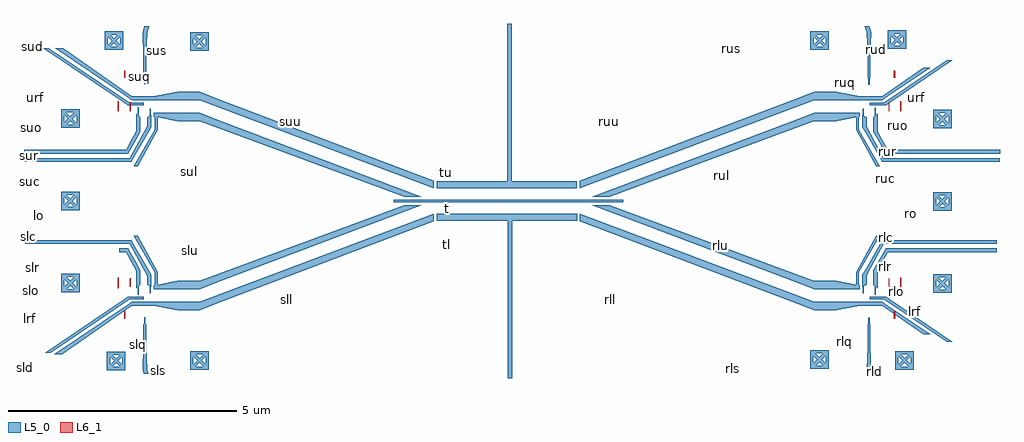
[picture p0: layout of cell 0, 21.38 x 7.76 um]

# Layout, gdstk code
import gdstk
lib = gdstk.Library(unit=1e-6, precision=1e-09)
def R(c, l, rs):  # rectangles x0, y0, x1, y1
    for r in rs: c.add(gdstk.rectangle(r[:2], r[2:], *l))
def A(c, l, x, y, w, h, nx, ny, dx, dy):  # array of equal rectangles
    R(c, l, [(x+i*dx, y+j*dy, x+i*dx+w, y+j*dy+h) for i in range(nx) for j in range(ny)])
def P(c, l, *ps):  # polygons
    for p in ps: c.add(gdstk.Polygon(p, *l))
L5_0 = (5, 0)
L6_1 = (6, 1)

c_0 = lib.new_cell('0')
A(c_0, L5_0, 9.278, -2, 0.404, 0.068, 1, 3, 0, 1.8)
A(c_0, L5_0, 9.616, -2, 0.068, 0.404, 1, 3, 0, 1.8)
A(c_0, L5_0, 9.278, -1.998, 0.068, 0.404, 1, 3, 0, 1.8)
A(c_0, L5_0, -9.824, -1.99, 0.404, 0.068, 1, 3, 0, 1.8)
A(c_0, L5_0, -9.486, -1.99, 0.068, 0.404, 1, 3, 0, 1.8)
A(c_0, L5_0, -9.824, -1.988, 0.068, 0.404, 1, 3, 0, 1.8)
A(c_0, L5_0, 9.28, -1.662, 0.404, 0.068, 1, 3, 0, 1.8)
A(c_0, L5_0, -9.822, -1.652, 0.404, 0.068, 1, 3, 0, 1.8)
R(c_0, L5_0, [(-0.043,-3.869,0.054,-0.426), (-8.82,-3.694,-8.416,-3.626), (-8.482,-3.694,-8.414,-3.29), (-8.82,-3.692,-8.752,-3.288), (-6.995,-3.685,-6.591,-3.617), (-6.657,-3.685,-6.589,-3.281), (8.449,-3.685,8.853,-3.617), (8.787,-3.685,8.855,-3.281), (-6.995,-3.683,-6.927,-3.279), (8.449,-3.683,8.517,-3.279), (6.584,-3.666,6.988,-3.598), (6.922,-3.666,6.99,-3.262), (6.584,-3.664,6.652,-3.26), (-8.818,-3.356,-8.414,-3.288), (-6.993,-3.347,-6.589,-3.279), (8.451,-3.347,8.855,-3.279), (6.586,-3.328,6.99,-3.26), (-8.02,-3.198,-7.96,-2.686), (7.842,-3.198,7.902,-2.686), (7.858,-2.708,7.889,-2.547), (-8.004,-2.684,-7.98,-2.542), (8.001,-2.042,8.021,-1.814), (-8.139,-2.04,-8.119,-1.81), (7.742,-2.012,7.76,-1.842), (-7.878,-2.01,-7.858,-1.816), (-7.789,-1.921,-7.709,-1.841), (7.591,-1.921,7.671,-1.841), (-7.769,-1.836,-7.709,-1.555), (7.591,-1.836,7.651,-1.555), (-8.552,-1.111,-8.401,-1.031), (-10.604,-0.931,-8.317,-0.851), (8.199,-0.931,10.674,-0.851), (-1.6,-0.426,1.481,-0.266), (-2.536,-0.021,2.487,0.039), (-1.6,0.284,1.475,0.444), (-0.049,0.444,0.048,3.887), (-10.617,0.869,-8.317,0.949), (8.199,0.869,10.742,0.949), (-10.636,1.049,-8.401,1.129), (-7.769,1.573,-7.709,1.854), (7.591,1.573,7.651,1.854), (-8.14,1.828,-8.118,2.06), (-7.88,1.829,-7.857,2.029), (7.998,1.84,8.021,2.057), (7.74,1.85,7.763,2.031), (-7.789,1.859,-7.709,1.939), (7.591,1.859,7.671,1.939), (7.855,2.56,7.888,2.736), (-8.004,2.564,-7.973,2.708), (-8.02,2.704,-7.96,3.216), (7.842,2.704,7.902,3.216), (-6.998,3.302,-6.594,3.37), (-6.66,3.302,-6.592,3.706), (-6.998,3.304,-6.93,3.708), (-8.867,3.318,-8.463,3.386), (-8.529,3.318,-8.461,3.722), (6.59,3.318,6.994,3.386), (6.928,3.318,6.996,3.722), (-8.867,3.32,-8.799,3.724), (6.59,3.32,6.658,3.724), (8.286,3.34,8.69,3.408), (8.624,3.34,8.692,3.744), (8.286,3.342,8.354,3.746), (-6.996,3.64,-6.592,3.708), (-8.865,3.656,-8.461,3.724), (6.592,3.656,6.996,3.724), (8.288,3.678,8.692,3.746)])
P(c_0, L5_0, [(-9.737,-0.153),(-9.785,-0.104),(-9.499,0.181),(-9.451,0.133)],
  [(-9.502,-0.154),(-9.788,0.131),(-9.74,0.18),(-9.454,-0.106)],
  [(9.365,-0.163),(9.317,-0.114),(9.603,0.171),(9.651,0.123)],
  [(9.6,-0.164),(9.314,0.121),(9.362,0.17),(9.648,-0.116)],
  [(8.062,1.367),(7.972,1.531),(7.972,1.846),(8.062,1.916)],
  [(7.892,2.109),(7.892,2.159),(8.323,2.159),(8.249,2.109)],
  [(8.198,2.159),(9.572,3.087),(9.697,3.087),(8.323,2.159)],
  [(7.842,3.216),(7.822,3.704),(7.922,3.704),(7.902,3.216)],
  [(1.542,0.284),(1.542,0.455),(6.196,2.219),(6.671,2.219)],
  [(7.671,2.219),(7.671,2.299),(8.28,2.299),(8.161,2.219)],
  [(7.161,1.759),(7.161,1.939),(7.591,1.939),(7.591,1.843)],
  [(7.822,3.704),(7.776,3.833),(7.881,3.833),(7.922,3.704)],
  [(8.03,0.769),(7.591,1.573),(7.651,1.573),(8.11,0.769)],
  [(7.591,1.854),(7.591,1.859),(7.671,1.859),(7.645,1.854)],
  [(1.812,0.099),(6.196,1.759),(6.667,1.759),(2.192,0.099)],
  [(6.196,1.759),(6.671,1.939),(7.161,1.939),(7.161,1.759)],
  [(8.161,2.299),(9.063,2.931),(9.216,2.931),(8.28,2.299)],
  [(7.161,2.219),(7.161,2.399),(7.671,2.299),(7.671,2.219)],
  [(6.196,2.219),(6.671,2.399),(7.161,2.399),(7.161,2.219)],
  [(8.166,0.869),(8.12,0.949),(8.199,0.949),(8.199,0.869)],
  [(8.12,0.949),(7.821,1.467),(7.916,1.467),(8.199,0.949)],
  [(7.821,1.467),(7.821,1.641),(7.916,1.467)],
  [(7.821,1.467),(7.731,1.623),(7.731,1.89),(7.821,1.844)],
  [(8.236,1.049),(8.192,1.129),(10.743,1.129),(10.743,1.049)],
  [(8.192,1.129),(8.062,1.367),(8.153,1.367),(8.283,1.129)],
  [(8.062,1.367),(8.062,1.533),(8.153,1.367)],
  [(6.677,3.355),(6.629,3.404),(6.915,3.689),(6.963,3.641)],
  [(6.912,3.354),(6.626,3.639),(6.674,3.688),(6.96,3.402)],
  [(8.373,3.377),(8.325,3.426),(8.611,3.711),(8.659,3.663)],
  [(8.608,3.376),(8.322,3.661),(8.37,3.71),(8.656,3.424)],
  [(9.365,1.637),(9.317,1.686),(9.603,1.971),(9.651,1.923)],
  [(9.6,1.636),(9.314,1.921),(9.362,1.97),(9.648,1.684)],
  [(-8.367,2.109),(-8.441,2.159),(-8.01,2.159),(-8.01,2.109)],
  [(-8.441,2.159),(-10.218,3.359),(-10.093,3.359),(-8.316,2.159)],
  [(-7.939,1.467),(-7.939,1.844),(-7.849,1.89),(-7.849,1.623)],
  [(-8.034,1.467),(-7.939,1.641),(-7.939,1.467)],
  [(-8.02,3.216),(-8.04,3.704),(-7.94,3.704),(-7.96,3.216)],
  [(-8.317,0.949),(-8.034,1.467),(-7.939,1.467),(-8.238,0.949)],
  [(-8.317,0.869),(-8.317,0.949),(-8.238,0.949),(-8.284,0.869)],
  [(-7.279,2.219),(-7.279,2.399),(-6.789,2.399),(-6.314,2.219)],
  [(-7.789,2.219),(-7.789,2.299),(-7.279,2.399),(-7.279,2.219)],
  [(-8.398,2.299),(-9.956,3.351),(-9.781,3.351),(-8.279,2.299)],
  [(-1.66,0.284),(-6.789,2.219),(-6.314,2.219),(-1.66,0.455)],
  [(-7.279,1.759),(-7.279,1.939),(-6.789,1.939),(-6.314,1.759)],
  [(-8.04,3.704),(-7.999,3.833),(-7.894,3.833),(-7.94,3.704)],
  [(-2.31,0.099),(-6.785,1.759),(-6.314,1.759),(-1.93,0.099)],
  [(-7.279,1.759),(-7.709,1.843),(-7.709,1.939),(-7.279,1.939)],
  [(-8.18,1.367),(-8.18,1.916),(-8.09,1.846),(-8.09,1.531)],
  [(-7.763,1.854),(-7.789,1.859),(-7.709,1.859),(-7.709,1.854)],
  [(-8.228,0.769),(-7.769,1.573),(-7.709,1.573),(-8.148,0.769)],
  [(-6.911,3.339),(-6.959,3.388),(-6.673,3.673),(-6.625,3.625)],
  [(-6.676,3.338),(-6.962,3.623),(-6.914,3.672),(-6.628,3.386)],
  [(-8.78,3.355),(-8.828,3.404),(-8.542,3.689),(-8.494,3.641)],
  [(-8.545,3.354),(-8.831,3.639),(-8.783,3.688),(-8.497,3.402)],
  [(-8.271,1.367),(-8.18,1.533),(-8.18,1.367)],
  [(-8.401,1.129),(-8.271,1.367),(-8.18,1.367),(-8.31,1.129)],
  [(-8.279,2.219),(-8.398,2.299),(-7.789,2.299),(-7.789,2.219)],
  [(-8.401,1.049),(-8.401,1.129),(-8.31,1.129),(-8.354,1.049)],
  [(-9.737,1.647),(-9.785,1.696),(-9.499,1.981),(-9.451,1.933)],
  [(-9.502,1.646),(-9.788,1.931),(-9.74,1.98),(-9.454,1.694)],
  [(-8.271,-1.349),(-8.401,-1.111),(-8.31,-1.111),(-8.18,-1.349)],
  [(-7.279,-2.381),(-7.789,-2.281),(-7.789,-2.201),(-7.279,-2.201)],
  [(-8.317,-0.931),(-8.317,-0.851),(-8.284,-0.851),(-8.238,-0.931)],
  [(-6.789,-2.201),(-1.66,-0.266),(-1.66,-0.437),(-6.314,-2.201)],
  [(-10.176,-3.313),(-8.441,-2.141),(-8.316,-2.141),(-10.051,-3.313)],
  [(-8.01,-3.779),(-8.04,-3.686),(-7.94,-3.686),(-7.907,-3.779)],
  [(-6.785,-1.741),(-2.31,-0.081),(-1.93,-0.081),(-6.314,-1.741)],
  [(-8.034,-1.449),(-8.317,-0.931),(-8.238,-0.931),(-7.939,-1.449)],
  [(-7.769,-1.555),(-8.228,-0.751),(-8.148,-0.751),(-7.709,-1.555)],
  [(-8.401,-1.111),(-8.401,-1.031),(-8.354,-1.031),(-8.31,-1.111)],
  [(-9.977,-3.347),(-8.398,-2.281),(-8.279,-2.281),(-9.8,-3.347)],
  [(-8.18,-1.898),(-8.18,-1.349),(-8.09,-1.513),(-8.09,-1.828)],
  [(-8.398,-2.281),(-8.279,-2.201),(-7.789,-2.201),(-7.789,-2.281)],
  [(-8.04,-3.686),(-8.02,-3.198),(-7.96,-3.198),(-7.94,-3.686)],
  [(-6.908,-3.648),(-6.956,-3.599),(-6.67,-3.314),(-6.622,-3.362)],
  [(-6.673,-3.649),(-6.959,-3.364),(-6.911,-3.315),(-6.625,-3.601)],
  [(-8.733,-3.657),(-8.781,-3.608),(-8.495,-3.323),(-8.447,-3.371)],
  [(-8.498,-3.658),(-8.784,-3.373),(-8.736,-3.324),(-8.45,-3.61)],
  [(-7.279,-1.921),(-7.279,-1.741),(-6.314,-1.741),(-6.789,-1.921)],
  [(-7.849,-1.872),(-7.939,-1.826),(-7.939,-1.449),(-7.849,-1.605)],
  [(-8.18,-1.515),(-8.271,-1.349),(-8.18,-1.349)],
  [(-8.441,-2.141),(-8.367,-2.091),(-8.01,-2.091),(-8.01,-2.141)],
  [(-7.709,-1.921),(-7.709,-1.825),(-7.279,-1.741),(-7.279,-1.921)],
  [(-7.939,-1.623),(-8.034,-1.449),(-7.939,-1.449)],
  [(-7.789,-1.841),(-7.763,-1.836),(-7.709,-1.836),(-7.709,-1.841)],
  [(-7.279,-2.381),(-7.279,-2.201),(-6.314,-2.201),(-6.789,-2.381)],
  [(-9.737,-1.953),(-9.785,-1.904),(-9.499,-1.619),(-9.451,-1.667)],
  [(-9.502,-1.954),(-9.788,-1.669),(-9.74,-1.62),(-9.454,-1.906)],
  [(7.591,-1.555),(8.03,-0.751),(8.11,-0.751),(7.651,-1.555)],
  [(6.196,-2.201),(1.542,-0.437),(1.542,-0.266),(6.671,-2.201)],
  [(9.572,-3.069),(8.198,-2.141),(8.323,-2.141),(9.697,-3.069)],
  [(7.821,-1.623),(7.821,-1.449),(7.916,-1.449)],
  [(8.062,-1.898),(7.972,-1.828),(7.972,-1.513),(8.062,-1.349)],
  [(7.671,-2.281),(7.671,-2.201),(8.161,-2.201),(8.28,-2.281)],
  [(6.671,-3.629),(6.623,-3.58),(6.909,-3.295),(6.957,-3.343)],
  [(6.906,-3.63),(6.62,-3.345),(6.668,-3.296),(6.954,-3.582)],
  [(7.731,-1.872),(7.731,-1.605),(7.821,-1.449),(7.821,-1.826)],
  [(9.063,-2.913),(8.161,-2.281),(8.28,-2.281),(9.216,-2.913)],
  [(6.671,-1.921),(6.196,-1.741),(7.161,-1.741),(7.161,-1.921)],
  [(8.062,-1.349),(8.192,-1.111),(8.283,-1.111),(8.153,-1.349)],
  [(8.192,-1.111),(8.236,-1.031),(10.668,-1.031),(10.668,-1.111)],
  [(8.062,-1.515),(8.062,-1.349),(8.153,-1.349)],
  [(6.671,-2.381),(6.196,-2.201),(7.161,-2.201),(7.161,-2.381)],
  [(7.161,-2.381),(7.161,-2.201),(7.671,-2.201),(7.671,-2.281)],
  [(8.536,-3.648),(8.488,-3.599),(8.774,-3.314),(8.822,-3.362)],
  [(8.771,-3.649),(8.485,-3.364),(8.533,-3.315),(8.819,-3.601)],
  [(7.161,-1.921),(7.161,-1.741),(7.591,-1.825),(7.591,-1.921)],
  [(7.822,-3.686),(7.842,-3.198),(7.902,-3.198),(7.922,-3.686)],
  [(7.591,-1.841),(7.591,-1.836),(7.645,-1.836),(7.671,-1.841)],
  [(7.892,-2.141),(7.892,-2.091),(8.249,-2.091),(8.323,-2.141)],
  [(9.365,-1.963),(9.317,-1.914),(9.603,-1.629),(9.651,-1.677)],
  [(9.6,-1.964),(9.314,-1.679),(9.362,-1.63),(9.648,-1.916)],
  [(8.12,-0.931),(8.166,-0.851),(8.199,-0.851),(8.199,-0.931)],
  [(7.821,-1.449),(8.12,-0.931),(8.199,-0.931),(7.916,-1.449)],
  [(7.789,-3.779),(7.822,-3.686),(7.922,-3.686),(7.892,-3.779)],
  [(6.196,-1.741),(1.812,-0.081),(2.192,-0.081),(6.667,-1.741)])
R(c_0, L6_1, [(-8.445,-2.566,-8.415,-2.406), (8.417,-2.566,8.447,-2.406), (-8.579,-1.901,-8.559,-1.674), (8.561,-1.901,8.581,-1.674), (-8.319,-1.871,-8.299,-1.681), (8.301,-1.871,8.321,-1.681), (-8.579,1.972,-8.559,2.199), (8.561,1.972,8.581,2.199), (-8.319,1.979,-8.299,2.169), (8.301,1.979,8.321,2.169), (-8.445,2.704,-8.415,2.864), (8.417,2.704,8.447,2.864)])
c_0.add(gdstk.Label('urf', (-10.389,2.269), layer=5, texttype=0))
c_0.add(gdstk.Label('urf', (8.919,2.269), layer=5, texttype=0))
c_0.add(gdstk.Label('lrf', (-10.518,-2.554), layer=5, texttype=0))
c_0.add(gdstk.Label('lrf', (8.862,-2.412), layer=5, texttype=0))
c_0.add(gdstk.Label('tu', (-1.388,0.636), layer=5, texttype=0))
c_0.add(gdstk.Label('tl', (-1.373,-0.942), layer=5, texttype=0))
c_0.add(gdstk.Label('t', (-1.357,-0.156), layer=5, texttype=0))
c_0.add(gdstk.Label('ruq', (7.363,2.601), layer=5, texttype=0))
c_0.add(gdstk.Label('suq', (-8.103,2.734), layer=5, texttype=0))
c_0.add(gdstk.Label('slq', (-8.134,-3.124), layer=5, texttype=0))
c_0.add(gdstk.Label('rlq', (7.342,-3.072), layer=5, texttype=0))
c_0.add(gdstk.Label('rls', (4.877,-3.669), layer=5, texttype=0))
c_0.add(gdstk.Label('rld', (7.984,-3.721), layer=5, texttype=0))
c_0.add(gdstk.Label('sll', (-4.888,-2.15), layer=5, texttype=0))
c_0.add(gdstk.Label('slu', (-6.99,-1.075), layer=5, texttype=0))
c_0.add(gdstk.Label('rul', (4.642,0.569), layer=5, texttype=0))
c_0.add(gdstk.Label('rlu', (4.619,-0.969), layer=5, texttype=0))
c_0.add(gdstk.Label('rlc', (8.267,-0.786), layer=5, texttype=0))
c_0.add(gdstk.Label('rlr', (8.243,-1.434), layer=5, texttype=0))
c_0.add(gdstk.Label('ruc', (8.228,0.496), layer=5, texttype=0))
c_0.add(gdstk.Label('rur', (8.271,1.086), layer=5, texttype=0))
c_0.add(gdstk.Label('sur', (-10.511,1.014), layer=5, texttype=0))
c_0.add(gdstk.Label('suc', (-10.495,0.438), layer=5, texttype=0))
c_0.add(gdstk.Label('slc', (-10.537,-0.766), layer=5, texttype=0))
c_0.add(gdstk.Label('slr', (-10.453,-1.451), layer=5, texttype=0))
c_0.add(gdstk.Label('suu', (-4.788,1.75), layer=5, texttype=0))
c_0.add(gdstk.Label('rll', (2.212,-2.15), layer=5, texttype=0))
c_0.add(gdstk.Label('ruu', (2.198,1.75), layer=5, texttype=0))
c_0.add(gdstk.Label('rus', (4.862,3.343), layer=5, texttype=0))
c_0.add(gdstk.Label('rud', (8.041,3.318), layer=5, texttype=0))
c_0.add(gdstk.Label('sul', (-7.02,0.66), layer=5, texttype=0))
c_0.add(gdstk.Label('sud', (-10.445,3.384), layer=5, texttype=0))
c_0.add(gdstk.Label('sus', (-7.741,3.316), layer=5, texttype=0))
c_0.add(gdstk.Label('sls', (-7.68,-3.713), layer=5, texttype=0))
c_0.add(gdstk.Label('sld', (-10.607,-3.649), layer=5, texttype=0))
c_0.add(gdstk.Label('lo', (-10.311,-0.309), layer=5, texttype=0))
c_0.add(gdstk.Label('ro', (8.792,-0.275), layer=5, texttype=0))
c_0.add(gdstk.Label('suo', (-10.463,1.621), layer=5, texttype=0))
c_0.add(gdstk.Label('slo', (-10.491,-1.956), layer=5, texttype=0))
c_0.add(gdstk.Label('rlo', (8.48,-1.984), layer=5, texttype=0))
c_0.add(gdstk.Label('ruo', (8.494,1.662), layer=5, texttype=0))

lib.write_gds('0.gds')
